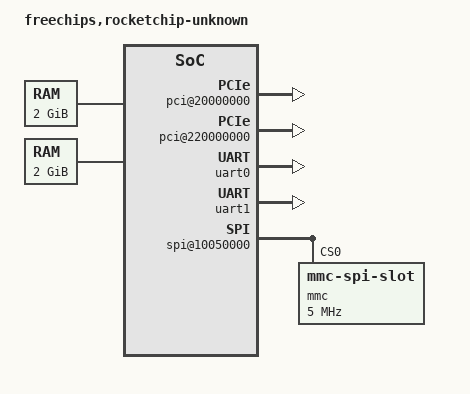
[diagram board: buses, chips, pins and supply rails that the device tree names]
/dts-v1/;

/ {
	#address-cells = <2>;
	#size-cells = <2>;
	compatible = "freechips,rocketchip-unknown-dev", "sifive,hifive-unleashed-a00", "sifive,fu540-c000";
	model = "freechips,rocketchip-unknown";

	aliases {
		serial0 = &uart0;
	};

	chosen {
		bootargs = "earlycon=sifive,0x10010000 console=ttySIF0,115200";
	};

	cpus {
		#address-cells = <1>;
		#size-cells = <0>;
		timebase-frequency = <1000000>;

		cpu0: cpu@0 {
			compatible = "sifive,e51", "sifive,rocket0", "riscv";
			device_type = "cpu";
			i-cache-block-size = <0x40>;
			i-cache-sets = <0x80>;
			i-cache-size = <0x4000>;
			reg = <0x0>;
			riscv,isa = "rv64imac";
			status = "disabled";

			cpu0_intc: interrupt-controller {
				#interrupt-cells = <0x1>;
				compatible = "riscv,cpu-intc";
				interrupt-controller;
			};
		};

		cpu1: cpu@1 {
			compatible = "sifive,u54-mc", "sifive,rocket0", "riscv";
			d-cache-block-size = <0x40>;
			d-cache-sets = <0x40>;
			d-cache-size = <0x8000>;
			d-tlb-sets = <0x1>;
			d-tlb-size = <0x20>;
			device_type = "cpu";
			i-cache-block-size = <0x40>;
			i-cache-sets = <0x40>;
			i-cache-size = <0x8000>;
			i-tlb-sets = <0x1>;
			i-tlb-size = <0x20>;
			mmu-type = "riscv,sv39";
			reg = <0x1>;
			riscv,isa = "rv64imafdc";
			status = "okay";
			tlb-split;

			cpu1_intc: interrupt-controller {
				#interrupt-cells = <0x1>;
				compatible = "riscv,cpu-intc";
				interrupt-controller;
			};
		};

		cpu2: cpu@2 {
			clock-frequency = <0x0>;
			compatible = "sifive,u54-mc", "sifive,rocket0", "riscv";
			d-cache-block-size = <0x40>;
			d-cache-sets = <0x40>;
			d-cache-size = <0x8000>;
			d-tlb-sets = <0x1>;
			d-tlb-size = <0x20>;
			device_type = "cpu";
			i-cache-block-size = <0x40>;
			i-cache-sets = <0x40>;
			i-cache-size = <0x8000>;
			i-tlb-sets = <0x1>;
			i-tlb-size = <0x20>;
			mmu-type = "riscv,sv39";
			reg = <0x2>;
			riscv,isa = "rv64imafdc";
			status = "okay";
			tlb-split;

			cpu2_intc: interrupt-controller {
				#interrupt-cells = <0x1>;
				compatible = "riscv,cpu-intc";
				interrupt-controller;
			};
		};

		cpu3: cpu@3 {
			clock-frequency = <0x0>;
			compatible = "sifive,u54-mc", "sifive,rocket0", "riscv";
			d-cache-block-size = <0x40>;
			d-cache-sets = <0x40>;
			d-cache-size = <0x8000>;
			d-tlb-sets = <0x1>;
			d-tlb-size = <0x20>;
			device_type = "cpu";
			i-cache-block-size = <0x40>;
			i-cache-sets = <0x40>;
			i-cache-size = <0x8000>;
			i-tlb-sets = <0x1>;
			i-tlb-size = <0x20>;
			mmu-type = "riscv,sv39";
			reg = <0x3>;
			riscv,isa = "rv64imafdc";
			status = "okay";
			tlb-split;

			cpu3_intc: interrupt-controller {
				#interrupt-cells = <0x1>;
				compatible = "riscv,cpu-intc";
				interrupt-controller;
			};
		};

		cpu4: cpu@4 {
			clock-frequency = <0x0>;
			compatible = "sifive,u54-mc", "sifive,rocket0", "riscv";
			d-cache-block-size = <0x40>;
			d-cache-sets = <0x40>;
			d-cache-size = <0x8000>;
			d-tlb-sets = <0x1>;
			d-tlb-size = <0x20>;
			device_type = "cpu";
			i-cache-block-size = <0x40>;
			i-cache-sets = <0x40>;
			i-cache-size = <0x8000>;
			i-tlb-sets = <0x1>;
			i-tlb-size = <0x20>;
			mmu-type = "riscv,sv39";
			reg = <0x4>;
			riscv,isa = "rv64imafdc";
			status = "okay";
			tlb-split;

			cpu4_intc: interrupt-controller {
				#interrupt-cells = <0x1>;
				compatible = "riscv,cpu-intc";
				interrupt-controller;
			};
		};

		cpu8: cpu@8 {
			clock-frequency = <0x0>;
			compatible = "sifive,e51", "sifive,rocket0", "riscv";
			device_type = "cpu";
			i-cache-block-size = <0x40>;
			i-cache-sets = <0x80>;
			i-cache-size = <0x4000>;
			reg = <0x8>;
			riscv,isa = "rv64imac";
			status = "disabled";

			cpu8_intc:  interrupt-controller {
				#interrupt-cells = <0x1>;
				compatible = "riscv,cpu-intc";
				interrupt-controller;
			};
		};

		cpu9: cpu@9 {
			clock-frequency = <0x0>;
			compatible = "sifive,u54-mc", "sifive,rocket0", "riscv";
			d-cache-block-size = <0x40>;
			d-cache-sets = <0x40>;
			d-cache-size = <0x8000>;
			d-tlb-sets = <0x1>;
			d-tlb-size = <0x20>;
			device_type = "cpu";
			i-cache-block-size = <0x40>;
			i-cache-sets = <0x40>;
			i-cache-size = <0x8000>;
			i-tlb-sets = <0x1>;
			i-tlb-size = <0x20>;
			mmu-type = "riscv,sv39";
			reg = <0x9>;
			riscv,isa = "rv64imafdc";
			status = "okay";
			tlb-split;

			cpu9_intc: interrupt-controller {
				#interrupt-cells = <0x1>;
				compatible = "riscv,cpu-intc";
				interrupt-controller;
			};
		};

		cpu10: cpu@10 {
			clock-frequency = <0x0>;
			compatible = "sifive,u54-mc", "sifive,rocket0", "riscv";
			d-cache-block-size = <0x40>;
			d-cache-sets = <0x40>;
			d-cache-size = <0x8000>;
			d-tlb-sets = <0x1>;
			d-tlb-size = <0x20>;
			device_type = "cpu";
			i-cache-block-size = <0x40>;
			i-cache-sets = <0x40>;
			i-cache-size = <0x8000>;
			i-tlb-sets = <0x1>;
			i-tlb-size = <0x20>;
			mmu-type = "riscv,sv39";
			reg = <0xa>;
			riscv,isa = "rv64imafdc";
			status = "okay";
			tlb-split;

			cpu10_intc: interrupt-controller {
				#interrupt-cells = <0x1>;
				compatible = "riscv,cpu-intc";
				interrupt-controller;
			};
		};

		cpu11: cpu@11 {
			clock-frequency = <0x0>;
			compatible = "sifive,u54-mc", "sifive,rocket0", "riscv";
			d-cache-block-size = <0x40>;
			d-cache-sets = <0x40>;
			d-cache-size = <0x8000>;
			d-tlb-sets = <0x1>;
			d-tlb-size = <0x20>;
			device_type = "cpu";
			i-cache-block-size = <0x40>;
			i-cache-sets = <0x40>;
			i-cache-size = <0x8000>;
			i-tlb-sets = <0x1>;
			i-tlb-size = <0x20>;
			mmu-type = "riscv,sv39";
			reg = <0xb>;
			riscv,isa = "rv64imafdc";
			status = "okay";
			tlb-split;

			cpu11_intc: interrupt-controller {
				#interrupt-cells = <0x1>;
				compatible = "riscv,cpu-intc";
				interrupt-controller;
			};
		};

		cpu12: cpu@12 {
			clock-frequency = <0x0>;
			compatible = "sifive,u54-mc", "sifive,rocket0", "riscv";
			d-cache-block-size = <0x40>;
			d-cache-sets = <0x40>;
			d-cache-size = <0x8000>;
			d-tlb-sets = <0x1>;
			d-tlb-size = <0x20>;
			device_type = "cpu";
			i-cache-block-size = <0x40>;
			i-cache-sets = <0x40>;
			i-cache-size = <0x8000>;
			i-tlb-sets = <0x1>;
			i-tlb-size = <0x20>;
			mmu-type = "riscv,sv39";
			reg = <0xc>;
			riscv,isa = "rv64imafdc";
			status = "okay";
			tlb-split;

			cpu12_intc: interrupt-controller {
				#interrupt-cells = <0x1>;
				compatible = "riscv,cpu-intc";
				interrupt-controller;
			};
		};
	};

	soc {
		#address-cells = <0x2>;
		#size-cells = <0x2>;
		compatible = "sifive,fu540-c000", "sifive,fu540", "freechips,rocketchip-unknown-soc", "simple-bus";
		ranges;

		clint@2000000 {
			compatible = "riscv,clint0";
			interrupts-extended = <&cpu1_intc 0x3 &cpu1_intc 0x7
                                               &cpu2_intc 0x3 &cpu2_intc 0x7
                                               &cpu3_intc 0x3 &cpu3_intc 0x7
                                               &cpu4_intc 0x3 &cpu4_intc 0x7>;
			reg = <0x0 0x2000000 0x0 0x10000>;
			reg-names = "control";
		};

		clint@202000000 {
			compatible = "riscv,clint0";
			interrupts-extended = <&cpu1_intc 0x3 &cpu1_intc 0x7
                                               &cpu2_intc 0x3 &cpu2_intc 0x7
                                               &cpu3_intc 0x3 &cpu3_intc 0x7
                                               &cpu4_intc 0x3 &cpu4_intc 0x7>;
			reg = <0x2 0x2000000 0x0 0x10000>;
			reg-names = "control";
		};

		gpio0: gpio@10060000 {
			#gpio-cells = <0x2>;
			#interrupt-cells = <0x2>;
			compatible = "sifive,gpio0", "sifive,gpio1";
			gpio-controller;
			interrupt-controller;
			interrupt-parent = <&plic0>;
			interrupts = <0x12 0x13 0x14 0x15>;
			reg = <0x0 0x10060000 0x0 0x1000>;
			reg-names = "control";
		};

		plic0: interrupt-controller@c000000 {
			#interrupt-cells = <0x1>;
			compatible = "sifive,plic-1.0.0";
			reg = <0x0 0xc000000 0x0 0x4000000>;
			riscv,ndev = <0x15>;
			interrupt-controller;
			interrupts-extended = <&cpu0_intc 0xffffffff
                                               &cpu1_intc 0xffffffff &cpu1_intc 0x9
                                               &cpu2_intc 0xffffffff &cpu2_intc 0x9
                                               &cpu3_intc 0xffffffff &cpu3_intc 0x9
                                               &cpu4_intc 0xffffffff &cpu4_intc 0x9>;
			reg-names = "control";
			riscv,max-priority = <0x7>;
		};

		plic1: interrupt-controller@20c000000 {
			#interrupt-cells = <0x1>;
			compatible = "sifive,plic-1.0.0";
			reg = <0x2 0xc000000 0x0 0x4000000>;
			riscv,ndev = <0x15>;
			interrupt-controller;
			interrupts-extended = <&cpu8_intc 0xffffffff
                                               &cpu9_intc 0xffffffff &cpu9_intc 0x9
                                               &cpu10_intc 0xffffffff &cpu10_intc 0x9
                                               &cpu11_intc 0xffffffff &cpu11_intc 0x9
                                               &cpu12_intc 0xffffffff &cpu12_intc 0x9>;
			reg-names = "control";
			riscv,max-priority = <0x7>;
		};

		pci@20000000 {
			#address-cells = <0x3>;
			#interrupt-cells = <0x1>;
			#size-cells = <0x2>;
			compatible = "xlnx,xdma-host-3.00";
			device_type = "pci";
			interrupt-map = <0x0 0x0 0x0 0x1
                                         &pci_intc0 0x1 0x0 0x0 0x0 0x2
                                         &pci_intc0 0x2 0x0 0x0 0x0 0x3
                                         &pci_intc0 0x3 0x0 0x0 0x0 0x4
                                         &pci_intc0 0x4>;
			interrupt-map-mask = <0x0 0x0 0x0 0x7>;
			interrupt-names = "misc", "msi0", "msi1";
			interrupt-parent = <&plic0>;
			interrupts = <0xf 0x10 0x11>;
			ranges = <0x2000000 0x0 0x40000000 0x0 0x40000000 0x0 0x40000000>;
			reg = <0x0 0x20000000 0x0 0x4000000>;
			reg-names = "control";

			pci_intc0: interrupt-controller {
				#address-cells = <0x0>;
				#interrupt-cells = <0x1>;
				interrupt-controller;
			};
		};

		pci@220000000 {
			#address-cells = <0x3>;
			#interrupt-cells = <0x1>;
			#size-cells = <0x2>;
			compatible = "xlnx,xdma-host-3.00";
			device_type = "pci";
			interrupt-map = <0x0 0x0 0x0 0x1
                                         &pci_intc1 0x1 0x0 0x0 0x0 0x2
                                         &pci_intc1 0x2 0x0 0x0 0x0 0x3
                                         &pci_intc1 0x3 0x0 0x0 0x0 0x4
                                         &pci_intc1 0x4>;
			interrupt-map-mask = <0x0 0x0 0x0 0x7>;
			interrupt-names = "misc", "msi0", "msi1";
			interrupt-parent = <&gpio0>;
			interrupts = <0x0 0x4 0x1 0x4 0x2 0x4>;
			ranges = <0x2000000 0x2 0x40000000 0x2 0x40000000 0x0 0x40000000>;
			reg = <0x2 0x20000000 0x0 0x4000000>;
			reg-names = "control";

			pci_intc1: interrupt-controller {
				#address-cells = <0x0>;
				#interrupt-cells = <0x1>;
				interrupt-controller;
			};
		};

		uart0: serial@10010000 {
			compatible = "sifive,fu540-c000-uart", "sifive,uart0";
			reg = <0x0 0x10010000 0x0 0x1000>;
			interrupt-parent = <&plic0>;
			clocks = <&tlclk0>;
			status = "okay";
			interrupts = <0xd>;
		};

		uart1: serial@210010000 {
			compatible = "sifive,fu540-c000-uart", "sifive,uart0";
			reg = <0x2 0x10010000 0x0 0x1000>;
			interrupt-parent = <&plic1>;
			clocks = <&tlclk0>;
			status = "okay";
			interrupts = <0xd>;
		};

		spi@10050000 {
			compatible = "sifive,fu540-c000-spi", "sifive,spi0";
			reg = <0x0 0x10050000 0x0 0x1000>;
			interrupt-parent = <&plic0>;
			interrupts = <0xe>;
			clocks = <&tlclk0>;
			#address-cells = <0x1>;
			#size-cells = <0x0>;

			mmc@0 {
				compatible = "mmc-spi-slot";
				reg = <0x0>;
				spi-max-frequency = <5000000>;
				voltage-ranges = <0xce4 0xce4>;
				disable-wp;
			};
		};
	};

	mem0: memory@80000000 {
		device_type = "memory";
		reg = <0x0 0x80000000 0x0 0x80000000>;
	};

	mem1: memory@280000000 {
		device_type = "memory";
		reg = <0x2 0x80000000 0x0 0x80000000>;
	};

	tlclk0: tlclk {
		#clock-cells = <0>;
		compatible = "fixed-clock";
		clock-frequency = <50000000>;
		clock-output-names = "tlclk";
	};
};
